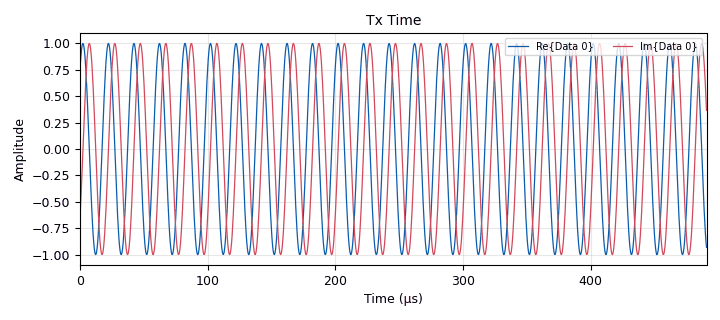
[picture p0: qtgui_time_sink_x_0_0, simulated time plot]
options:
  parameters:
    author: '"mzemlo.pl@gmail.com"'
    comment: |-
      Original stream on https://www.youtube.com/watch?v=GIdATdJi8jA
      Documentation on https://github.com/gallicchio/learnSDR/blob/main/lesson08a_plutoTXRX.grc
    copyright: '"mzemlo.pl@gmail.com"'
    description: https://www.youtube.com/watch?v=GIdATdJi8jA
    generate_options: qt_gui
    id: Pluto_2_Pluto
    output_language: python
    title: '"Pluto_2_Pluto"'
  states: {}

blocks:
- name: f
  id: variable
  parameters:
    value: '3500000000'
  states: {}
- name: rx_gain
  id: variable_qtgui_range
  parameters:
    label: '"rx_gain"'
    start: '0'
    step: '1'
    stop: '70'
    value: '64'
  states: {}
- name: samp_rate
  id: variable
  parameters:
    value: '2084000'
  states: {}
- name: tone_f
  id: variable_qtgui_range
  parameters:
    start: '-100000'
    step: '10000'
    stop: '100000'
    value: '50000'
  states: {}
- name: tx_attenuation
  id: variable_qtgui_range
  parameters:
    start: '0'
    step: '1'
    stop: '100'
    value: '10'
  states: {}
- name: analog_sig_source_x_0
  id: analog_sig_source_x
  parameters:
    amp: '1'
    freq: tone_f
    offset: '0'
    phase: '0'
    samp_rate: samp_rate
    type: complex
    waveform: analog.GR_COS_WAVE
  states: {}
- name: iio_pluto_sink_0
  id: iio_pluto_sink
  parameters:
    attenuation1: tx_attenuation
    bandwidth: '20000000'
    buffer_size: '32768'
    cyclic: 'False'
    filter_source: '''Auto'''
    frequency: int(f)
    samplerate: int(samp_rate)
    type: fc32
    uri: '"ip:192.168.2.1"'
  states: {}
- name: iio_pluto_source_0
  id: iio_pluto_source
  parameters:
    bandwidth: '20000000'
    bbdc: 'True'
    buffer_size: '32768'
    filter_source: '''Auto'''
    frequency: int(f)
    gain1: '''manual'''
    manual_gain1: rx_gain
    quadrature: 'True'
    rfdc: 'True'
    samplerate: int(samp_rate)
    type: fc32
    uri: '"ip:192.168.2.1"'
  states: {}
- name: qtgui_freq_sink_x_0
  id: qtgui_freq_sink_x
  parameters:
    autoscale: 'True'
    bw: samp_rate
    fc: '0'
    fftsize: '1024'
    name: '"Rx Freq"'
    type: complex
  states: {}
- name: qtgui_time_sink_x_0
  id: qtgui_time_sink_x
  parameters:
    autoscale: 'True'
    name: '"RX Time"'
    size: '1024'
    srate: samp_rate
    type: complex
  states: {}
- name: qtgui_time_sink_x_0_0
  id: qtgui_time_sink_x
  parameters:
    autoscale: 'True'
    name: '"Tx Time"'
    size: '1024'
    srate: samp_rate
    type: complex
  states: {}

connections:
- [analog_sig_source_x_0, '0', iio_pluto_sink_0, '0']
- [analog_sig_source_x_0, '0', qtgui_time_sink_x_0_0, '0']
- [iio_pluto_source_0, '0', qtgui_freq_sink_x_0, '0']
- [iio_pluto_source_0, '0', qtgui_time_sink_x_0, '0']

metadata:
  file_format: 1
  grc_version: 3.10.9.2
